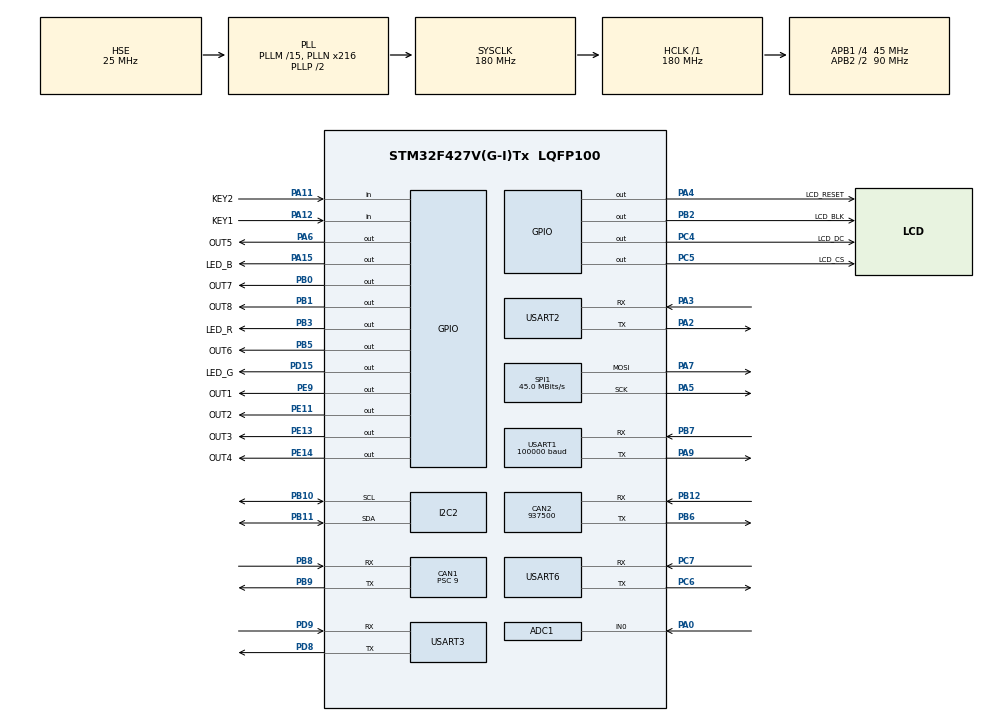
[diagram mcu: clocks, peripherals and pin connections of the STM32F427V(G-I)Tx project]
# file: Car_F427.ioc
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ADC1.Channel-0\#ChannelRegularConversion=ADC_CHANNEL_0
ADC1.ContinuousConvMode=ENABLE
ADC1.NbrOfConversionFlag=1
ADC1.Rank-0\#ChannelRegularConversion=1
ADC1.SamplingTime-0\#ChannelRegularConversion=ADC_SAMPLETIME_3CYCLES
ADC1.master=1
CAN1.ABOM=ENABLE
CAN1.BS1=CAN_BS1_2TQ
CAN1.BS2=CAN_BS2_2TQ
CAN1.CalculateBaudRate=1000000
CAN1.CalculateTimeBit=1000
CAN1.CalculateTimeQuantum=200.0
CAN1.Prescaler=9
CAN1.TXFP=ENABLE
CAN2.CalculateBaudRate=937500
CAN2.CalculateTimeBit=1066
CAN2.CalculateTimeQuantum=355.55555555555554
Dma.Request0=USART1_RX
Dma.Request1=USART2_TX
Dma.Request2=USART2_RX
Dma.Request3=USART6_TX
Dma.Request4=USART6_RX
Dma.Request5=USART3_RX
Dma.Request6=USART3_TX
Dma.Request7=SPI1_TX
Dma.SPI1_TX.7.Direction=DMA_MEMORY_TO_PERIPH
Dma.SPI1_TX.7.FIFOMode=DMA_FIFOMODE_DISABLE
Dma.SPI1_TX.7.Instance=DMA2_Stream3
Dma.SPI1_TX.7.MemDataAlignment=DMA_MDATAALIGN_BYTE
Dma.SPI1_TX.7.MemInc=DMA_MINC_ENABLE
Dma.SPI1_TX.7.Mode=DMA_NORMAL
Dma.SPI1_TX.7.PeriphDataAlignment=DMA_PDATAALIGN_BYTE
Dma.SPI1_TX.7.PeriphInc=DMA_PINC_DISABLE
Dma.SPI1_TX.7.Priority=DMA_PRIORITY_VERY_HIGH
Dma.USART1_RX.0.Direction=DMA_PERIPH_TO_MEMORY
Dma.USART1_RX.0.FIFOMode=DMA_FIFOMODE_DISABLE
Dma.USART1_RX.0.Instance=DMA2_Stream2
Dma.USART1_RX.0.MemDataAlignment=DMA_MDATAALIGN_BYTE
Dma.USART1_RX.0.MemInc=DMA_MINC_ENABLE
Dma.USART1_RX.0.Mode=DMA_NORMAL
Dma.USART1_RX.0.PeriphDataAlignment=DMA_PDATAALIGN_BYTE
Dma.USART1_RX.0.PeriphInc=DMA_PINC_DISABLE
Dma.USART1_RX.0.Priority=DMA_PRIORITY_VERY_HIGH
Dma.USART2_RX.2.Direction=DMA_PERIPH_TO_MEMORY
Dma.USART2_RX.2.FIFOMode=DMA_FIFOMODE_DISABLE
Dma.USART2_RX.2.Instance=DMA1_Stream5
Dma.USART2_RX.2.MemDataAlignment=DMA_MDATAALIGN_BYTE
Dma.USART2_RX.2.MemInc=DMA_MINC_ENABLE
Dma.USART2_RX.2.Mode=DMA_NORMAL
Dma.USART2_RX.2.PeriphDataAlignment=DMA_PDATAALIGN_BYTE
Dma.USART2_RX.2.PeriphInc=DMA_PINC_DISABLE
Dma.USART2_RX.2.Priority=DMA_PRIORITY_VERY_HIGH
Dma.USART2_TX.1.Direction=DMA_MEMORY_TO_PERIPH
Dma.USART2_TX.1.FIFOMode=DMA_FIFOMODE_DISABLE
Dma.USART2_TX.1.Instance=DMA1_Stream6
Dma.USART2_TX.1.MemDataAlignment=DMA_MDATAALIGN_BYTE
Dma.USART2_TX.1.MemInc=DMA_MINC_ENABLE
Dma.USART2_TX.1.Mode=DMA_NORMAL
Dma.USART2_TX.1.PeriphDataAlignment=DMA_PDATAALIGN_BYTE
Dma.USART2_TX.1.PeriphInc=DMA_PINC_DISABLE
Dma.USART2_TX.1.Priority=DMA_PRIORITY_VERY_HIGH
Dma.USART3_RX.5.Direction=DMA_PERIPH_TO_MEMORY
Dma.USART3_RX.5.FIFOMode=DMA_FIFOMODE_DISABLE
Dma.USART3_RX.5.Instance=DMA1_Stream1
Dma.USART3_RX.5.MemDataAlignment=DMA_MDATAALIGN_BYTE
Dma.USART3_RX.5.MemInc=DMA_MINC_ENABLE
Dma.USART3_RX.5.Mode=DMA_NORMAL
Dma.USART3_RX.5.PeriphDataAlignment=DMA_PDATAALIGN_BYTE
Dma.USART3_RX.5.PeriphInc=DMA_PINC_DISABLE
Dma.USART3_RX.5.Priority=DMA_PRIORITY_HIGH
Dma.USART3_TX.6.Direction=DMA_MEMORY_TO_PERIPH
Dma.USART3_TX.6.FIFOMode=DMA_FIFOMODE_DISABLE
Dma.USART3_TX.6.Instance=DMA1_Stream3
Dma.USART3_TX.6.MemDataAlignment=DMA_MDATAALIGN_BYTE
Dma.USART3_TX.6.MemInc=DMA_MINC_ENABLE
Dma.USART3_TX.6.Mode=DMA_NORMAL
Dma.USART3_TX.6.PeriphDataAlignment=DMA_PDATAALIGN_BYTE
Dma.USART3_TX.6.PeriphInc=DMA_PINC_DISABLE
Dma.USART3_TX.6.Priority=DMA_PRIORITY_HIGH
Dma.USART6_RX.4.Direction=DMA_PERIPH_TO_MEMORY
Dma.USART6_RX.4.FIFOMode=DMA_FIFOMODE_DISABLE
Dma.USART6_RX.4.Instance=DMA2_Stream1
Dma.USART6_RX.4.MemDataAlignment=DMA_MDATAALIGN_BYTE
Dma.USART6_RX.4.MemInc=DMA_MINC_ENABLE
Dma.USART6_RX.4.Mode=DMA_NORMAL
Dma.USART6_RX.4.PeriphDataAlignment=DMA_PDATAALIGN_BYTE
Dma.USART6_RX.4.PeriphInc=DMA_PINC_DISABLE
Dma.USART6_RX.4.Priority=DMA_PRIORITY_HIGH
Dma.USART6_TX.3.Direction=DMA_MEMORY_TO_PERIPH
Dma.USART6_TX.3.FIFOMode=DMA_FIFOMODE_DISABLE
Dma.USART6_TX.3.Instance=DMA2_Stream6
Dma.USART6_TX.3.MemDataAlignment=DMA_MDATAALIGN_BYTE
Dma.USART6_TX.3.MemInc=DMA_MINC_ENABLE
Dma.USART6_TX.3.Mode=DMA_NORMAL
Dma.USART6_TX.3.PeriphDataAlignment=DMA_PDATAALIGN_BYTE
Dma.USART6_TX.3.PeriphInc=DMA_PINC_DISABLE
Dma.USART6_TX.3.Priority=DMA_PRIORITY_HIGH
FREERTOS.Mutexes01=mutex,Dynamic,NULL,Available
FREERTOS.Tasks01=MainTask,24,1024,StartDefaultTask,Default,NULL,Dynamic,NULL,NULL;MotorTask,49,1024,motor_task,As external,NULL,Dynamic,NULL,NULL;ButtonScanTask,26,1024,button_task,As external,NULL,Dynamic,NULL,NULL;Task_Remote,49,1024,task_remote_attr,As external,NULL,Dynamic,NULL,NULL;Task_LVGL,24,1024,lvgl_tick_attr,As external,NULL,Dynamic,NULL,NULL;Modbus_Data,49,2048,Modbus_DataUpdate,As external,NULL,Dynamic,NULL,NULL;UI_DATA_TASK,25,2048,ui_data_update,As external,NULL,Dynamic,NULL,NULL;SensorDataTask,8,1024,sensor_data_update,As external,NULL,Dynamic,NULL,NULL
FREERTOS.configENABLE_FPU=1
FREERTOS.configTOTAL_HEAP_SIZE=120000
Mcu.Family=STM32F4
Mcu.Name=STM32F427V(G-I)Tx
Mcu.Package=LQFP100
NVIC.ADC_IRQn=true\:5\:0\:false\:false\:true\:true\:true\:true\:true
NVIC.CAN1_RX0_IRQn=true\:5\:0\:false\:false\:true\:true\:true\:true\:true
NVIC.CAN1_RX1_IRQn=true\:5\:0\:false\:false\:true\:true\:true\:true\:true
NVIC.DMA1_Stream1_IRQn=true\:5\:0\:false\:false\:true\:true\:false\:true\:true
NVIC.DMA1_Stream3_IRQn=true\:5\:0\:false\:false\:true\:true\:false\:true\:true
NVIC.DMA1_Stream5_IRQn=true\:5\:0\:false\:false\:true\:true\:false\:true\:true
NVIC.DMA1_Stream6_IRQn=true\:5\:0\:false\:false\:true\:true\:false\:true\:true
NVIC.DMA2_Stream1_IRQn=true\:6\:0\:true\:false\:true\:true\:false\:true\:true
NVIC.DMA2_Stream2_IRQn=true\:5\:0\:false\:false\:true\:true\:false\:true\:true
NVIC.DMA2_Stream3_IRQn=true\:5\:0\:false\:false\:true\:true\:false\:true\:true
NVIC.DMA2_Stream6_IRQn=true\:6\:0\:true\:false\:true\:true\:false\:true\:true
NVIC.PriorityGroup=NVIC_PRIORITYGROUP_4
NVIC.TIM3_IRQn=true\:10\:0\:true\:false\:true\:true\:true\:true\:true
NVIC.TIM7_IRQn=true\:15\:0\:false\:false\:true\:false\:false\:true\:true
NVIC.TimeBase=TIM7_IRQn
NVIC.TimeBaseIP=TIM7
NVIC.USART1_IRQn=true\:5\:0\:false\:false\:true\:true\:true\:true\:true
NVIC.USART2_IRQn=true\:5\:0\:true\:false\:true\:true\:false\:true\:true
NVIC.USART3_IRQn=true\:5\:0\:false\:false\:true\:true\:true\:true\:true
NVIC.USART6_IRQn=true\:6\:0\:true\:false\:true\:true\:true\:true\:true
PA0/WKUP.Signal=ADCx_IN0
PA11.GPIO_Label=KEY2
PA11.GPIO_PuPd=GPIO_PULLUP
PA11.Signal=GPIO_Input
PA12.GPIO_Label=KEY1
PA12.GPIO_PuPd=GPIO_PULLUP
PA12.Signal=GPIO_Input
PA13.Mode=Serial_Wire
PA13.Signal=SYS_JTMS-SWDIO
PA14.Mode=Serial_Wire
PA14.Signal=SYS_JTCK-SWCLK
PA15.GPIO_Label=LED_B
PA15.GPIO_ModeDefaultOutputPP=GPIO_MODE_OUTPUT_PP
PA15.GPIO_PuPd=GPIO_PULLDOWN
PA15.GPIO_Speed=GPIO_SPEED_FREQ_HIGH
PA15.PinState=GPIO_PIN_RESET
PA15.Signal=GPIO_Output
PA2.Mode=Asynchronous
PA2.Signal=USART2_TX
PA3.Mode=Asynchronous
PA3.Signal=USART2_RX
PA4.GPIO_Label=LCD_RESET
PA4.GPIO_Speed=GPIO_SPEED_FREQ_VERY_HIGH
PA4.Signal=GPIO_Output
PA5.Mode=TX_Only_Simplex_Unidirect_Master
PA5.Signal=SPI1_SCK
PA6.GPIO_Label=OUT5
PA6.GPIO_ModeDefaultOutputPP=GPIO_MODE_OUTPUT_PP
PA6.GPIO_PuPd=GPIO_PULLDOWN
PA6.GPIO_Speed=GPIO_SPEED_FREQ_HIGH
PA6.PinState=GPIO_PIN_RESET
PA6.Signal=GPIO_Output
PA7.Mode=TX_Only_Simplex_Unidirect_Master
PA7.Signal=SPI1_MOSI
PA9.Mode=Asynchronous
PA9.Signal=USART1_TX
PB0.GPIO_Label=OUT7
PB0.GPIO_ModeDefaultOutputPP=GPIO_MODE_OUTPUT_PP
PB0.GPIO_PuPd=GPIO_PULLDOWN
PB0.GPIO_Speed=GPIO_SPEED_FREQ_HIGH
PB0.PinState=GPIO_PIN_RESET
PB0.Signal=GPIO_Output
PB1.GPIO_Label=OUT8
PB1.GPIO_ModeDefaultOutputPP=GPIO_MODE_OUTPUT_PP
PB1.GPIO_PuPd=GPIO_PULLDOWN
PB1.GPIO_Speed=GPIO_SPEED_FREQ_HIGH
PB1.PinState=GPIO_PIN_RESET
PB1.Signal=GPIO_Output
PB10.Mode=I2C
PB10.Signal=I2C2_SCL
PB11.Mode=I2C
PB11.Signal=I2C2_SDA
PB12.Mode=CAN_Activate
PB12.Signal=CAN2_RX
PB2/BOOT1.GPIO_Label=LCD_BLK
PB2/BOOT1.GPIO_ModeDefaultOutputPP=GPIO_MODE_OUTPUT_PP
PB2/BOOT1.GPIO_PuPd=GPIO_PULLUP
PB2/BOOT1.GPIO_Speed=GPIO_SPEED_FREQ_MEDIUM
PB2/BOOT1.PinState=GPIO_PIN_SET
PB2/BOOT1.Signal=GPIO_Output
PB3.GPIO_Label=LED_R
PB3.GPIO_ModeDefaultOutputPP=GPIO_MODE_OUTPUT_PP
PB3.GPIO_PuPd=GPIO_PULLDOWN
PB3.GPIO_Speed=GPIO_SPEED_FREQ_HIGH
PB3.PinState=GPIO_PIN_RESET
PB3.Signal=GPIO_Output
PB5.GPIO_Label=OUT6
PB5.GPIO_ModeDefaultOutputPP=GPIO_MODE_OUTPUT_PP
PB5.GPIO_PuPd=GPIO_PULLDOWN
PB5.GPIO_Speed=GPIO_SPEED_FREQ_HIGH
PB5.PinState=GPIO_PIN_RESET
PB5.Signal=GPIO_Output
PB6.Mode=CAN_Activate
PB6.Signal=CAN2_TX
PB7.Mode=Asynchronous
PB7.Signal=USART1_RX
PB8.Mode=CAN_Activate
PB8.Signal=CAN1_RX
PB9.Mode=CAN_Activate
PB9.Signal=CAN1_TX
PC14/OSC32_IN.Mode=LSE-External-Oscillator
PC14/OSC32_IN.Signal=RCC_OSC32_IN
PC15/OSC32_OUT.Mode=LSE-External-Oscillator
PC15/OSC32_OUT.Signal=RCC_OSC32_OUT
PC4.GPIO_Label=LCD_DC
PC4.GPIO_Speed=GPIO_SPEED_FREQ_VERY_HIGH
PC4.Signal=GPIO_Output
PC5.GPIO_Label=LCD_CS
PC5.GPIO_Speed=GPIO_SPEED_FREQ_VERY_HIGH
PC5.Signal=GPIO_Output
PC6.Mode=Asynchronous
PC6.Signal=USART6_TX
PC7.Mode=Asynchronous
PC7.Signal=USART6_RX
PD15.GPIO_Label=LED_G
PD15.GPIO_ModeDefaultOutputPP=GPIO_MODE_OUTPUT_PP
PD15.GPIO_PuPd=GPIO_PULLDOWN
PD15.GPIO_Speed=GPIO_SPEED_FREQ_HIGH
PD15.PinState=GPIO_PIN_RESET
PD15.Signal=GPIO_Output
PD8.Mode=Asynchronous
PD8.Signal=USART3_TX
PD9.Mode=Asynchronous
PD9.Signal=USART3_RX
PE11.GPIO_Label=OUT2
PE11.GPIO_ModeDefaultOutputPP=GPIO_MODE_OUTPUT_PP
PE11.GPIO_PuPd=GPIO_PULLDOWN
PE11.GPIO_Speed=GPIO_SPEED_FREQ_HIGH
PE11.PinState=GPIO_PIN_RESET
PE11.Signal=GPIO_Output
PE13.GPIO_Label=OUT3
PE13.GPIO_ModeDefaultOutputPP=GPIO_MODE_OUTPUT_PP
PE13.GPIO_PuPd=GPIO_PULLDOWN
PE13.GPIO_Speed=GPIO_SPEED_FREQ_HIGH
PE13.PinState=GPIO_PIN_RESET
PE13.Signal=GPIO_Output
PE14.GPIO_Label=OUT4
PE14.GPIO_ModeDefaultOutputPP=GPIO_MODE_OUTPUT_PP
PE14.GPIO_PuPd=GPIO_PULLDOWN
PE14.GPIO_Speed=GPIO_SPEED_FREQ_HIGH
PE14.PinState=GPIO_PIN_RESET
PE14.Signal=GPIO_Output
PE9.GPIO_Label=OUT1
PE9.GPIO_ModeDefaultOutputPP=GPIO_MODE_OUTPUT_PP
PE9.GPIO_PuPd=GPIO_PULLDOWN
PE9.GPIO_Speed=GPIO_SPEED_FREQ_HIGH
PE9.PinState=GPIO_PIN_RESET
PE9.Signal=GPIO_Output
PH0/OSC_IN.Mode=HSE-External-Oscillator
PH0/OSC_IN.Signal=RCC_OSC_IN
PH1/OSC_OUT.Mode=HSE-External-Oscillator
PH1/OSC_OUT.Signal=RCC_OSC_OUT
ProjectManager.HeapSize=0x6000
ProjectManager.StackSize=0x7000
ProjectManager.TargetToolchain=MDK-ARM V5.32
RCC.48MHZClocksFreq_Value=90000000
RCC.AHBFreq_Value=180000000
RCC.APB1CLKDivider=RCC_HCLK_DIV4
RCC.APB1Freq_Value=45000000
RCC.APB1TimFreq_Value=90000000
RCC.APB2CLKDivider=RCC_HCLK_DIV2
RCC.APB2Freq_Value=90000000
RCC.APB2TimFreq_Value=180000000
RCC.CortexFreq_Value=180000000
RCC.HCLKFreq_Value=180000000
RCC.HSE_VALUE=25000000
RCC.HSI_VALUE=16000000
RCC.PLLM=15
RCC.PLLN=216
RCC.PLLSourceVirtual=RCC_PLLSOURCE_HSE
RCC.SYSCLKFreq_VALUE=180000000
RCC.SYSCLKSource=RCC_SYSCLKSOURCE_PLLCLK
RCC.VCOOutputFreq_Value=360000000
SH.ADCx_IN0.0=ADC1_IN0,IN0
SPI1.BaudRatePrescaler=SPI_BAUDRATEPRESCALER_2
SPI1.CLKPolarity=SPI_POLARITY_LOW
SPI1.CalculateBaudRate=45.0 MBits/s
SPI1.Direction=SPI_DIRECTION_2LINES
SPI1.Mode=SPI_MODE_MASTER
SPI1.VirtualType=VM_MASTER
TIM3.AutoReloadPreload=TIM_AUTORELOAD_PRELOAD_ENABLE
TIM3.Period=999
TIM3.Prescaler=180
USART1.BaudRate=100000
USART1.Mode=MODE_RX
USART1.Parity=PARITY_EVEN
USART1.StopBits=STOPBITS_2
USART1.VirtualMode=VM_ASYNC
USART1.WordLength=WORDLENGTH_9B
USART2.VirtualMode=VM_ASYNC
USART3.VirtualMode=VM_ASYNC
USART6.VirtualMode=VM_ASYNC
VP_FREERTOS_VS_CMSIS_V2.Mode=CMSIS_V2
VP_SYS_VS_tim7.Mode=TIM7
VP_TIM3_VS_ClockSourceINT.Mode=Internal
board=custom

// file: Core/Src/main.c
/* USER CODE BEGIN Header */
/**
 ******************************************************************************
 * @file           : main.c
 * @brief          : Main program body
 ******************************************************************************
 * @attention
 *
 * Copyright (c) 2025 STMicroelectronics.
 * All rights reserved.
 *
 * This software is licensed under terms that can be found in the LICENSE file
 * in the root directory of this software component.
 * If no LICENSE file comes with this software, it is provided AS-IS.
 *
 ******************************************************************************
 */

/* USER CODE END Header */
#include "main.h"
#include "cmsis_os.h"
#include "adc.h"
#include "can.h"
#include "dma.h"
#include "i2c.h"
#include "spi.h"
#include "tim.h"
#include "usart.h"
#include "gpio.h"

/* USER CODE BEGIN Includes */
#include "sbus.h"
#include "Modbus.h"
#include "elog.h"
#include "st7735s.h"
#include "lvgl.h"

#include "UARTCallback.h"
#include "QMI8658A.h"

/* USER CODE END Includes */

void SystemClock_Config(void);
void MX_FREERTOS_Init(void);

int main(void)
{

  /* MCU Configuration--------------------------------------------------------*/

  /* Reset of all peripherals, Initializes the Flash interface and the Systick. */
  HAL_Init();

  /* Configure the system clock */
  SystemClock_Config();

  /* Initialize all configured peripherals */
  MX_GPIO_Init();
  MX_DMA_Init();
  MX_USART1_UART_Init();
  MX_USART2_UART_Init();
  MX_CAN1_Init();
  MX_CAN2_Init();
  MX_SPI1_Init();
  MX_I2C2_Init();
  MX_USART3_UART_Init();
  MX_USART6_UART_Init();
  MX_ADC1_Init();
  MX_TIM3_Init();
  /* USER CODE BEGIN 2 */

  HAL_ADC_Start_IT(&hadc1); // 开始ADC转换

  HAL_TIM_Base_Init(&htim3);
  HAL_TIM_Base_Start_IT(&htim3); // 使用中断模式启动TIM6

  easylogger_init();
  USER_USART_INIT();          // 初始化USART接收中断
  Modbus_Init(0x01, &huart6); // 初始化Modbus，设置从站地址为0x01
  // init(); // 初始化电机和PID
  //  ST7735_Init();
  HAL_GPIO_WritePin(OUT3_GPIO_Port, OUT3_Pin, GPIO_PIN_SET); // 设置OUT3引脚为高电平

  /* USER CODE END 2 */

  /* Init scheduler */
  osKernelInitialize();

  /* Call init function for freertos objects (in cmsis_os2.c) */
  MX_FREERTOS_Init();

  /* Start scheduler */
  osKernelStart();

  /* We should never get here as control is now taken by the scheduler */

  /* Infinite loop */
  while (1)
  {

  }
}

void SystemClock_Config(void)
{
  RCC_OscInitTypeDef RCC_OscInitStruct = {0};
  RCC_ClkInitTypeDef RCC_ClkInitStruct = {0};

  /** Configure the main internal regulator output voltage
  */
  __HAL_RCC_PWR_CLK_ENABLE();
  __HAL_PWR_VOLTAGESCALING_CONFIG(PWR_REGULATOR_VOLTAGE_SCALE1);

  /** Initializes the RCC Oscillators according to the specified parameters
  * in the RCC_OscInitTypeDef structure.
  */
  RCC_OscInitStruct.OscillatorType = RCC_OSCILLATORTYPE_HSE;
  RCC_OscInitStruct.HSEState = RCC_HSE_ON;
  RCC_OscInitStruct.PLL.PLLState = RCC_PLL_ON;
  RCC_OscInitStruct.PLL.PLLSource = RCC_PLLSOURCE_HSE;
  RCC_OscInitStruct.PLL.PLLM = 15;
  RCC_OscInitStruct.PLL.PLLN = 216;
  RCC_OscInitStruct.PLL.PLLP = RCC_PLLP_DIV2;
  RCC_OscInitStruct.PLL.PLLQ = 4;
  if (HAL_RCC_OscConfig(&RCC_OscInitStruct) != HAL_OK)
  {
    Error_Handler();
  }

  /** Activate the Over-Drive mode
  */
  if (HAL_PWREx_EnableOverDrive() != HAL_OK)
  {
    Error_Handler();
  }

  /** Initializes the CPU, AHB and APB buses clocks
  */
  RCC_ClkInitStruct.ClockType = RCC_CLOCKTYPE_HCLK|RCC_CLOCKTYPE_SYSCLK
                              |RCC_CLOCKTYPE_PCLK1|RCC_CLOCKTYPE_PCLK2;
  RCC_ClkInitStruct.SYSCLKSource = RCC_SYSCLKSOURCE_PLLCLK;
  RCC_ClkInitStruct.AHBCLKDivider = RCC_SYSCLK_DIV1;
  RCC_ClkInitStruct.APB1CLKDivider = RCC_HCLK_DIV4;
  RCC_ClkInitStruct.APB2CLKDivider = RCC_HCLK_DIV2;

  if (HAL_RCC_ClockConfig(&RCC_ClkInitStruct, FLASH_LATENCY_5) != HAL_OK)
  {
    Error_Handler();
  }
}

void HAL_TIM_PeriodElapsedCallback(TIM_HandleTypeDef *htim)
{
  if (htim->Instance == TIM7) {
    HAL_IncTick();
  }
  /* USER CODE BEGIN Callback 1 */
  if (htim->Instance == TIM3)
  {

    lv_tick_inc(1); // LVGL tick increment
  }

  /* USER CODE END Callback 1 */
}

void Error_Handler(void)
{
  __disable_irq();
  while (1)
  {
  }
}

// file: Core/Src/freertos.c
/* USER CODE BEGIN Header */
/**
 ******************************************************************************
 * File Name          : freertos.c
 * Description        : Code for freertos applications
 ******************************************************************************
 * @attention
 *
 * Copyright (c) 2025 STMicroelectronics.
 * All rights reserved.
 *
 * This software is licensed under terms that can be found in the LICENSE file
 * in the root directory of this software component.
 * If no LICENSE file comes with this software, it is provided AS-IS.
 *
 ******************************************************************************
 */
/* USER CODE END Header */

#include "FreeRTOS.h"
#include "task.h"
#include "main.h"
#include "cmsis_os.h"

/* USER CODE BEGIN Includes */
#include "sever_init.h"
#include "lv_port_disp.h"
#include "lv_port_indev.h"
#include "lv_demo_widgets.h"
#include "UARTCallback.h"
#include "elog.h"

#include "events_init.h"
#include "gui_guider.h"
#include "custom.h"     // 自定义函数头文件
lv_ui guider_ui;
/* USER CODE END Includes */

/* Definitions for MainTask */
osThreadId_t MainTaskHandle;
const osThreadAttr_t MainTask_attributes = {
  .name = "MainTask",
  .stack_size = 1024 * 4,
  .priority = (osPriority_t) osPriorityNormal,
};
/* Definitions for MotorTask */
osThreadId_t MotorTaskHandle;
const osThreadAttr_t MotorTask_attributes = {
  .name = "MotorTask",
  .stack_size = 1024 * 4,
  .priority = (osPriority_t) osPriorityRealtime1,
};
/* Definitions for ButtonScanTask */
osThreadId_t ButtonScanTaskHandle;
const osThreadAttr_t ButtonScanTask_attributes = {
  .name = "ButtonScanTask",
  .stack_size = 1024 * 4,
  .priority = (osPriority_t) osPriorityNormal2,
};
/* Definitions for Task_Remote */
osThreadId_t Task_RemoteHandle;
const osThreadAttr_t Task_Remote_attributes = {
  .name = "Task_Remote",
  .stack_size = 1024 * 4,
  .priority = (osPriority_t) osPriorityRealtime1,
};
/* Definitions for Task_LVGL */
osThreadId_t Task_LVGLHandle;
const osThreadAttr_t Task_LVGL_attributes = {
  .name = "Task_LVGL",
  .stack_size = 1024 * 4,
  .priority = (osPriority_t) osPriorityNormal,
};
/* Definitions for Modbus_Data */
osThreadId_t Modbus_DataHandle;
const osThreadAttr_t Modbus_Data_attributes = {
  .name = "Modbus_Data",
  .stack_size = 2048 * 4,
  .priority = (osPriority_t) osPriorityRealtime1,
};
/* Definitions for UI_DATA_TASK */
osThreadId_t UI_DATA_TASKHandle;
const osThreadAttr_t UI_DATA_TASK_attributes = {
  .name = "UI_DATA_TASK",
  .stack_size = 2048 * 4,
  .priority = (osPriority_t) osPriorityNormal1,
};
/* Definitions for SensorDataTask */
osThreadId_t SensorDataTaskHandle;
const osThreadAttr_t SensorDataTask_attributes = {
  .name = "SensorDataTask",
  .stack_size = 1024 * 4,
  .priority = (osPriority_t) osPriorityLow,
};
/* Definitions for mutex */
osMutexId_t mutexHandle;
const osMutexAttr_t mutex_attributes = {
  .name = "mutex"
};

void StartDefaultTask(void *argument);
extern void motor_task(void *argument);
extern void button_task(void *argument);
extern void task_remote_attr(void *argument);
extern void lvgl_tick_attr(void *argument);
extern void Modbus_DataUpdate(void *argument);
extern void ui_data_update(void *argument);
extern void sensor_data_update(void *argument);

void MX_FREERTOS_Init(void); /* (MISRA C 2004 rule 8.1) */

void MX_FREERTOS_Init(void) {
  /* Create the mutex(es) */
  /* creation of mutex */
  mutexHandle = osMutexNew(&mutex_attributes);

  /* Create the thread(s) */
  /* creation of MainTask */
  MainTaskHandle = osThreadNew(StartDefaultTask, NULL, &MainTask_attributes);

  /* creation of MotorTask */
  MotorTaskHandle = osThreadNew(motor_task, NULL, &MotorTask_attributes);

  /* creation of ButtonScanTask */
  ButtonScanTaskHandle = osThreadNew(button_task, NULL, &ButtonScanTask_attributes);

  /* creation of Task_Remote */
  Task_RemoteHandle = osThreadNew(task_remote_attr, NULL, &Task_Remote_attributes);

  /* creation of Task_LVGL */
  Task_LVGLHandle = osThreadNew(lvgl_tick_attr, NULL, &Task_LVGL_attributes);

  /* creation of Modbus_Data */
  Modbus_DataHandle = osThreadNew(Modbus_DataUpdate, NULL, &Modbus_Data_attributes);

  /* creation of UI_DATA_TASK */
  UI_DATA_TASKHandle = osThreadNew(ui_data_update, NULL, &UI_DATA_TASK_attributes);

  /* creation of SensorDataTask */
  SensorDataTaskHandle = osThreadNew(sensor_data_update, NULL, &SensorDataTask_attributes);

}

void StartDefaultTask(void *argument)
{
  /* USER CODE BEGIN StartDefaultTask */
    log_i("StartDefaultTask");
    init();

    lv_init(); // 初始化LVGL
    log_i("lv_init");
    osDelay(100);        // 延时100ms，等待LVGL初始化完成
    lv_port_disp_init(); // 显示初始化
    log_i("lv_port_disp_init");
    lv_port_indev_init(); // 输入设备初始化
    log_i("lv_port_indev_init");
    osDelay(100); // 延时100ms，等待显示初始化完成

    log_i("ui_init");
    setup_ui(&guider_ui);
    events_init(&guider_ui);
    custom_init(&guider_ui); // 初始化自定义函数

    /* Infinite loop */
    for (;;)
    {
        osDelay(1);
    }
  /* USER CODE END StartDefaultTask */
}
